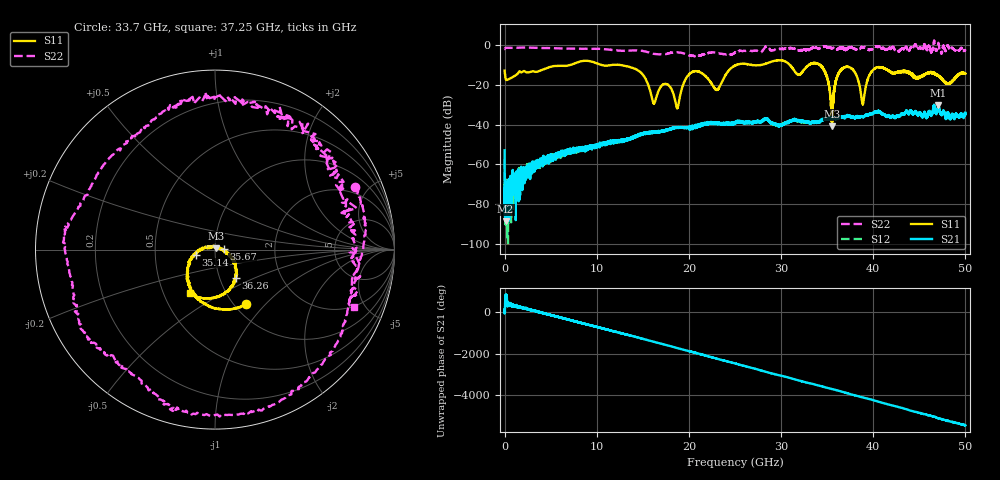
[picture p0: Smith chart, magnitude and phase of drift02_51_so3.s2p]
!Created with skrf (http://scikit-rf.org).
# Hz S RI R 50.0
!freq ReS11 ImS11 ReS21 ImS21 ReS12 ImS12 ReS22 ImS22
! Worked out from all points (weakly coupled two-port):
!   10001 points, 300 kHz to 50 GHz, reference 50 ohm
!   highest |S21| = -30.15 dB at 47.08 GHz (marker M1); lowest = -88.6 dB at 105.3 MHz (marker M2)
!   lowest |S11| = -40.8 dB at 35.54 GHz (marker M3), VSWR 1.02, Z = 50.4 + j0.812 ohm
!   |S11| at or under -10 dB: start of sweep to 7.18 GHz; 12.36 GHz to 25.18 GHz (12.82 GHz wide, 68.3 % of centre); 34.2 GHz to end of sweep (the widest 3 of 12)
!   |S22| runs from -5.7 to 2.3 dB; largest |S21 - S12| = 0.0038
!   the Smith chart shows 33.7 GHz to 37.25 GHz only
!   S11 on the Smith chart (normalised r, x): 33.7 GHz: 1.13, -0.78; 35.14 GHz: 0.81, -0.05; 35.67 GHz: 1.10, +0.01; 36.26 GHz: 1.19, -0.40; 37.25 GHz: 0.68, -0.36
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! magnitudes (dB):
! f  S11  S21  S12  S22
! 300 kHz  -12.9  -52.9  -57.7  -2.1
! 105.3 MHz  -16.8  -88.6  -77.4  -1.5
! 8.335 GHz  -8.2  -52.7  -52.5  -1.9
! 14.03 GHz  -11.8  -46.5  -46.1  -2.8
! 16.15 GHz  -29.2  -44.0  -43.9  -4.4
! 16.67 GHz  -23.4  -44.0  -43.7  -4.7
! 18.74 GHz  -31.7  -41.7  -41.2  -3.7
! 20.25 GHz  -13.9  -41.1  -41.5  -5.5
! 23.04 GHz  -22.6  -39.2  -39.2  -4.1
! 25 GHz  -10.3  -38.8  -39.3  -3.9
! 33.34 GHz  -9.3  -38.8  -38.7  -1.6
! 33.7 GHz  -9.1  -38.5  -38.6  -1.4
! 35.14 GHz  -19.1  -37.2  -37.1  -1.6
! 35.54 GHz  -40.8  -37.0  -36.7  -1.7
! 35.67 GHz  -26.4  -36.7  -36.6  -1.5
! 36.26 GHz  -14.1  -36.7  -36.6  -1.6
! 37.25 GHz  -11.0  -35.5  -35.5  -1.5
! 38.86 GHz  -29.8  -36.1  -35.9  -1.3
! 39.96 GHz  -12.6  -34.1  -34.4  -1.8
! 41.67 GHz  -12.9  -35.6  -35.6  -1.9
! 47.08 GHz  -15.5  -30.1  -30.4  1.0
! 50 GHz  -14.4  -34.1  -34.4  -2.6
